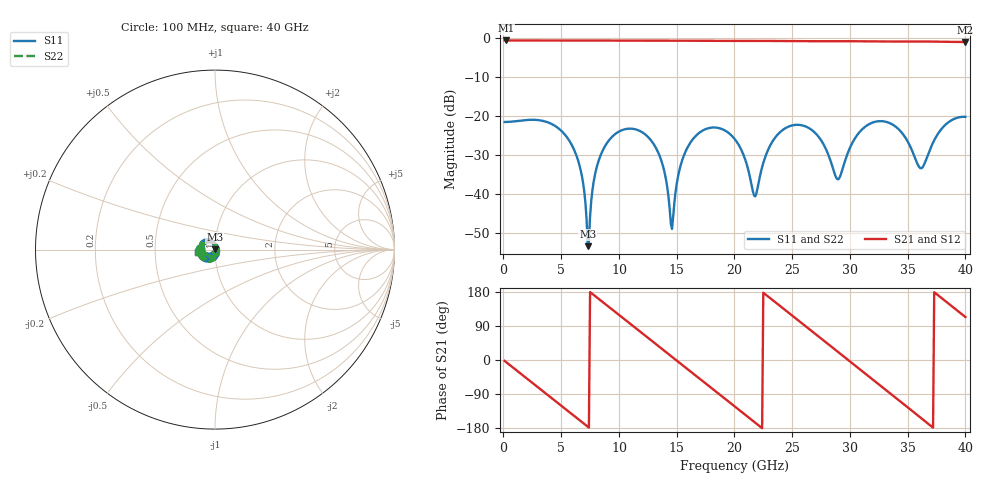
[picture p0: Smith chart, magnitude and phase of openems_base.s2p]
! T_ts6_sl_10: Stripline In2, ThunderScope stack, w 0.183 mm, 10 mm
! stackup: ThunderScope Rev5.3 6-layer (FR408HR / FR-4, from the board file)
! ports: 1 near A, 2 far A
! openEMS 0.37.0, staircase, base mesh (dfine 0.035 mm), 401464 cells
# Hz S RI R 50
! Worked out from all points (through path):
!   400 points, 100 MHz to 40 GHz, reference 50 ohm
!   highest |S21| = -0.75 dB at 200 MHz (marker M1); lowest = -1.1 dB at 40 GHz (marker M2)
!   group delay of S21, straight-line fit = 67.1 ps
!   lowest |S11| = -53.5 dB at 7.3 GHz (marker M3), VSWR 1.00, Z = 49.9 + j0.176 ohm
!   |S11| at or under -10 dB: start of sweep to end of sweep
!   |S22| runs from -53.5 to -20.3 dB; largest |S21 - S12| = 0
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1e8  -0.0826 0.000718  0.9165 -0.0385  0.9165 -0.0385  -0.0826 0.000718
2e8  -0.0826 0.00144  0.9141 -0.077  0.9141 -0.077  -0.0826 0.00144
3.6e9  -0.0678 0.0497  0.053 -0.9155  0.053 -0.9155  -0.0678 0.0497
6.8e9  0.000907 0.0165  -0.8808 -0.2555  -0.8808 -0.2555  0.000907 0.0165
7.3e9  -0.00117 0.00177  -0.9144 -0.0656  -0.9144 -0.0656  -0.00117 0.00177
7.9e9  -0.0105 -0.013  -0.9011 0.1651  -0.9011 0.1651  -0.0105 -0.013
9.1e9  -0.0418 -0.0223  -0.7072 0.5791  -0.7072 0.5791  -0.0418 -0.0223
1.12e10  -0.0636 0.023  -0.00354 0.9115  -0.00354 0.9115  -0.0636 0.023
1.34e10  -0.00862 0.0324  0.7261 0.5524  0.7261 0.5524  -0.00862 0.0324
1.46e10  0.00327 -0.00132  0.9027 0.131  0.9027 0.131  0.00327 -0.00132
1.52e10  -0.00416 -0.0185  0.906 -0.0994  0.906 -0.0994  -0.00416 -0.0185
1.63e10  -0.0343 -0.0329  0.764 -0.493  0.764 -0.493  -0.0343 -0.0329
2.01e10  -0.0258 0.0409  -0.5099 -0.7487  -0.5099 -0.7487  -0.0258 0.0409
2.18e10  0.00916 -0.000959  -0.877 -0.2281  -0.877 -0.2281  0.00916 -0.000959
2.37e10  -0.0363 -0.0428  -0.7694 0.4708  -0.7694 0.4708  -0.0363 -0.0428
2.67e10  -0.053 0.0382  0.2125 0.8721  0.2125 0.8721  -0.053 0.0382
2.89e10  0.0147 0.00441  0.8278 0.3505  0.8278 0.3505  0.0147 0.00441
3e10  0.00201 -0.0384  0.8947 -0.0602  0.8947 -0.0602  0.00201 -0.0384
3.34e10  -0.0777 0.0214  0.0618 -0.8858  0.0618 -0.8858  -0.0777 0.0214
3.61e10  0.0197 0.00758  -0.7834 -0.4224  -0.7834 -0.4224  0.0197 0.00758
3.69e10  0.0178 -0.0309  -0.878 -0.1349  -0.878 -0.1349  0.0178 -0.0309
4e10  -0.0952 -0.0144  -0.3492 0.8038  -0.3492 0.8038  -0.0952 -0.0144
